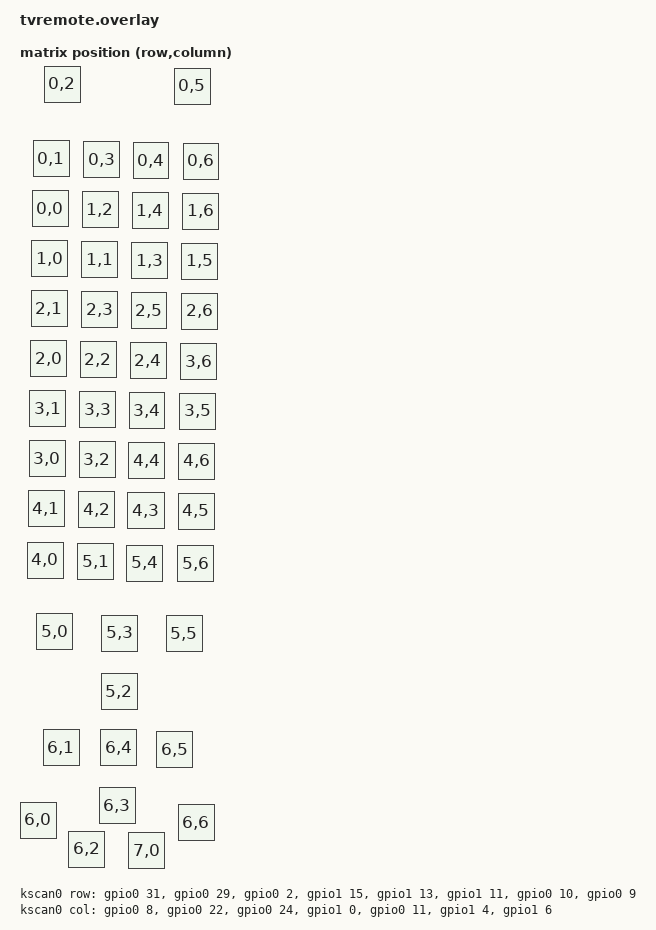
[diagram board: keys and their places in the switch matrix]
/*
 * Sony RMT-V501F shell with the replacement PCB (bt-remote/pcb, ordered
 * 2026-11-13): SuperMini nRF52840 (nice!nano v2 pinout), 50 keys in an 8 x 7
 * matrix with one 1N4148WS per key (COL2ROW), IR LED driven by an NPN on 101,
 * 3-position slide switch on 102 (TV) / 107 (VIDEO) with DVD = neither, and a
 * nice!view on the standard pins (MOSI 017, SCK 020, CS 006: build with
 * nice_view_adapter nice_view).
 *
 * Generated by bt-remote/pcb/make_zmk.py from matrix.json and layout.json.
 */

#include <dt-bindings/zmk/matrix_transform.h>
#include <physical_layouts.dtsi>

/* Rows 010 and 009 are the nRF52840's NFC pins. */
&uicr {
    nfct-pins-as-gpios;
};

/ {
    chosen {
        zmk,kscan = &kscan0;
        zmk,physical-layout = &physical_layout0;
    };

    zephyr,user {
        ir-gpios = <&gpio1 1 GPIO_ACTIVE_HIGH>;
        /* SW1 common is GND. The pull-ups are only switched on while the
         * switch is read (src/tvremote_mode.c), so a closed switch draws
         * nothing between reads. */
        mode-tv-gpios = <&gpio1 2 (GPIO_ACTIVE_LOW | GPIO_PULL_UP)>;
        mode-video-gpios = <&gpio1 7 (GPIO_ACTIVE_LOW | GPIO_PULL_UP)>;
    };

    kscan0: kscan {
        compatible = "zmk,kscan-gpio-matrix";
        diode-direction = "col2row";
        wakeup-source;

        col-gpios
            = <&gpio0 8 GPIO_ACTIVE_HIGH>   // col 0, SuperMini 008
            , <&gpio0 22 GPIO_ACTIVE_HIGH>   // col 1, SuperMini 022
            , <&gpio0 24 GPIO_ACTIVE_HIGH>   // col 2, SuperMini 024
            , <&gpio1 0 GPIO_ACTIVE_HIGH>   // col 3, SuperMini 100
            , <&gpio0 11 GPIO_ACTIVE_HIGH>   // col 4, SuperMini 011
            , <&gpio1 4 GPIO_ACTIVE_HIGH>   // col 5, SuperMini 104
            , <&gpio1 6 GPIO_ACTIVE_HIGH>   // col 6, SuperMini 106
            ;

        row-gpios
            = <&gpio0 31 (GPIO_ACTIVE_HIGH | GPIO_PULL_DOWN)>   // row 0, SuperMini 031
            , <&gpio0 29 (GPIO_ACTIVE_HIGH | GPIO_PULL_DOWN)>   // row 1, SuperMini 029
            , <&gpio0 2 (GPIO_ACTIVE_HIGH | GPIO_PULL_DOWN)>   // row 2, SuperMini 002
            , <&gpio1 15 (GPIO_ACTIVE_HIGH | GPIO_PULL_DOWN)>   // row 3, SuperMini 115
            , <&gpio1 13 (GPIO_ACTIVE_HIGH | GPIO_PULL_DOWN)>   // row 4, SuperMini 113
            , <&gpio1 11 (GPIO_ACTIVE_HIGH | GPIO_PULL_DOWN)>   // row 5, SuperMini 111
            , <&gpio0 10 (GPIO_ACTIVE_HIGH | GPIO_PULL_DOWN)>   // row 6, SuperMini 010
            , <&gpio0 9 (GPIO_ACTIVE_HIGH | GPIO_PULL_DOWN)>   // row 7, SuperMini 009
            ;
    };

    default_transform: matrix_transform {
        compatible = "zmk,matrix-transform";
        columns = <7>;
        rows = <8>;
        map = <RC(0,0) RC(0,1) RC(0,2) RC(0,3) RC(0,4) RC(0,5) RC(0,6) RC(1,0) RC(1,1) RC(1,2) RC(1,3) RC(1,4) RC(1,5) RC(1,6) RC(2,0) RC(2,1) RC(2,2) RC(2,3) RC(2,4) RC(2,5) RC(2,6) RC(3,0) RC(3,1) RC(3,2) RC(3,3) RC(3,4) RC(3,5) RC(3,6) RC(4,0) RC(4,1) RC(4,2) RC(4,3) RC(4,4) RC(4,5) RC(4,6) RC(5,0) RC(5,1) RC(5,2) RC(5,3) RC(5,4) RC(5,5) RC(5,6) RC(6,0) RC(6,1) RC(6,2) RC(6,3) RC(6,4) RC(6,5) RC(6,6) RC(7,0)>;
    };

    physical_layout0: physical_layout_0 {
        compatible = "zmk,physical-layout";
        display-name = "Sony RMT-V501F";
        transform = <&default_transform>;
        keys
            = <&key_physical_attrs 80 80   36   277 0 0 0>   // 1
            , <&key_physical_attrs 80 80   38   177 0 0 0>   // DVD
            , <&key_physical_attrs 80 80   60    28 0 0 0>   // EJECT
            , <&key_physical_attrs 80 80  139   179 0 0 0>   // VIDEO
            , <&key_physical_attrs 80 80  238   181 0 0 0>   // VCR PLUS
            , <&key_physical_attrs 80 80  320    32 0 0 0>   // POWER
            , <&key_physical_attrs 80 80  338   182 0 0 0>   // CH+
            , <&key_physical_attrs 80 80   35   377 0 0 0>   // 4
            , <&key_physical_attrs 80 80  135   379 0 0 0>   // 5
            , <&key_physical_attrs 80 80  136   279 0 0 0>   // 2
            , <&key_physical_attrs 80 80  235   381 0 0 0>   // 6
            , <&key_physical_attrs 80 80  236   281 0 0 0>   // 3
            , <&key_physical_attrs 80 80  335   382 0 0 0>   // VOL+
            , <&key_physical_attrs 80 80  337   282 0 0 0>   // CH-
            , <&key_physical_attrs 80 80   33   577 0 0 0>   // CLEAR
            , <&key_physical_attrs 80 80   34   477 0 0 0>   // 7
            , <&key_physical_attrs 80 80  132   579 0 0 0>   // 0
            , <&key_physical_attrs 80 80  135   479 0 0 0>   // 8
            , <&key_physical_attrs 80 80  232   581 0 0 0>   // ENTER
            , <&key_physical_attrs 80 80  234   481 0 0 0>   // 9
            , <&key_physical_attrs 80 80  335   482 0 0 0>   // VOL-
            , <&key_physical_attrs 80 80   30   777 0 0 0>   // AUDIO
            , <&key_physical_attrs 80 80   31   677 0 0 0>   // SET UP
            , <&key_physical_attrs 80 80  130   779 0 0 0>   // SUBTITLE
            , <&key_physical_attrs 80 80  131   679 0 0 0>   // ANGLE
            , <&key_physical_attrs 80 80  230   681 0 0 0>   // REPEAT
            , <&key_physical_attrs 80 80  331   682 0 0 0>   // TV/VIDEO
            , <&key_physical_attrs 80 80  333   583 0 0 0>   // ZOOM
            , <&key_physical_attrs 80 80   26   980 0 0 0>   // REC
            , <&key_physical_attrs 80 80   28   877 0 0 0>   // REPEAT2
            , <&key_physical_attrs 80 80  129   879 0 0 0>   // SKIP
            , <&key_physical_attrs 80 80  228   881 0 0 0>   // SCAN REW
            , <&key_physical_attrs 80 80  229   781 0 0 0>   // SURROUND
            , <&key_physical_attrs 80 80  328   882 0 0 0>   // SCAN F.F
            , <&key_physical_attrs 80 80  329   782 0 0 0>   // INPUT
            , <&key_physical_attrs 80 80   45  1123 0 0 0>   // PLAY
            , <&key_physical_attrs 80 80  127   983 0 0 0>   // SP/EP
            , <&key_physical_attrs 80 80  174  1243 0 0 0>   // UP
            , <&key_physical_attrs 80 80  175  1126 0 0 0>   // PAUSE
            , <&key_physical_attrs 80 80  226   986 0 0 0>   // PREV
            , <&key_physical_attrs 80 80  304  1127 0 0 0>   // STOP
            , <&key_physical_attrs 80 80  327   987 0 0 0>   // NEXT
            , <&key_physical_attrs 80 80   12  1500 0 0 0>   // DISPLAY
            , <&key_physical_attrs 80 80   58  1355 0 0 0>   // RIGHT
            , <&key_physical_attrs 80 80  109  1558 0 0 0>   // TOP MENU
            , <&key_physical_attrs 80 80  170  1471 0 0 0>   // DOWN
            , <&key_physical_attrs 80 80  173  1355 0 0 0>   // SELECT
            , <&key_physical_attrs 80 80  285  1359 0 0 0>   // LEFT
            , <&key_physical_attrs 80 80  328  1505 0 0 0>   // RETURN
            , <&key_physical_attrs 80 80  229  1561 0 0 0>   // MENU
            ;
    };
};
